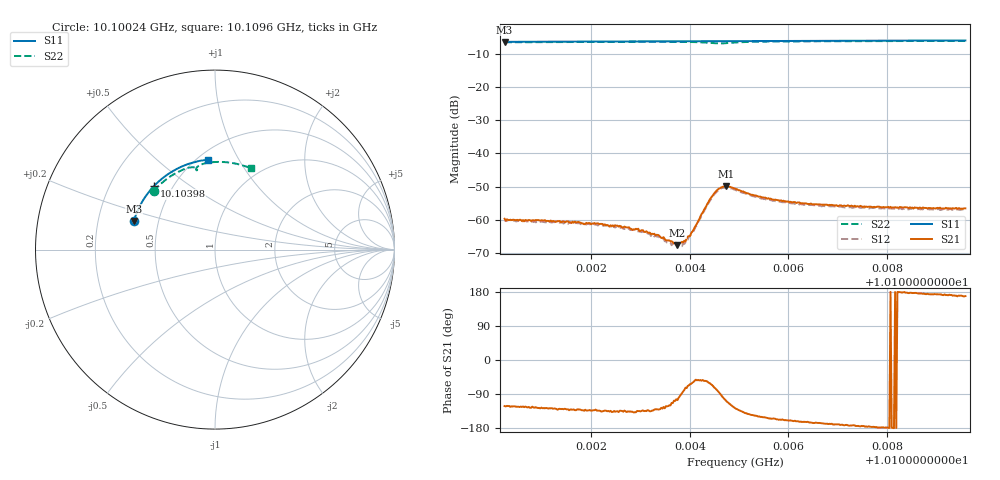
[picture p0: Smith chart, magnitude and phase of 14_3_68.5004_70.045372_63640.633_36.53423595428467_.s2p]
#  HZ  S  RI  R  50.00
! Rohde & Schwarz Vector Network Analyzer
! Rohde-Schwarz,ZNB20-2Port,1311601062101988,3.16
! Created: UTC 3/20/2024, 5:04:18 PM
! freq[Hz]  re:S11  im:S11  re:S21  im:S21  re:S12  im:S12  re:S22  im:S22
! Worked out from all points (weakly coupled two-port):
!   401 points, 10.10024 GHz to 10.1096 GHz, reference 50 ohm
!   highest |S21| = -49.96 dB at 10.10473 GHz (marker M1); lowest = -67.6 dB at 10.10375 GHz (marker M2)
!   lowest |S11| = -6.4 dB at 10.10024 GHz (marker M3), VSWR 2.84, Z = 18.1 + j7.47 ohm
!   |S11| at or under -10 dB: nowhere
!   |S22| runs from -6.9 to -6.1 dB; largest |S21 - S12| = 0.00033
!   S11 on the Smith chart (normalised r, x): 10.10024 GHz: 0.36, +0.15; 10.10398 GHz: 0.40, +0.37; 10.1096 GHz: 0.56, +0.75
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1.0100236e10  -0.4518 0.1593  -0.000542 -0.00088  -0.000426 -0.000882  -0.3402 0.3268
1.0101804e10  -0.4162 0.2479  -0.000597 -0.00065  -0.000532 -0.000684  -0.2658 0.3956
1.0102178e10  -0.405 0.2677  -0.000605 -0.00062  -0.000522 -0.000637  -0.2459 0.4096
1.0102716e10  -0.3873 0.2951  -0.000562 -0.00052  -0.000501 -0.000526  -0.2155 0.4279
1.0103091e10  -0.3743 0.3136  -0.000455 -0.000468  -0.000407 -0.000486  -0.1932 0.4391
1.0103371e10  -0.3635 0.327  -0.000378 -0.000441  -0.000328 -0.000444  -0.1756 0.4467
1.0103582e10  -0.3554 0.3368  -0.000241 -0.000424  -0.000183 -0.000421  -0.1616 0.4517
1.0103746e10  -0.3489 0.3443  -0.000114 -0.000402  -3.77e-05 -0.000434  -0.1504 0.4553
1.0103863e10  -0.344 0.3496  5.66e-05 -0.000453  8.26e-05 -0.000432  -0.1419 0.4571
1.010398e10  -0.3391 0.3547  0.000223 -0.00052  0.000255 -0.000491  -0.133 0.4584
1.0104097e10  -0.3343 0.3598  0.000445 -0.000623  0.000454 -0.00058  -0.1238 0.459
1.0104307e10  -0.3252 0.3688  0.000856 -0.00123  0.000938 -0.00109  -0.1072 0.4553
1.0104448e10  -0.3189 0.3745  0.000912 -0.00203  0.00106 -0.00186  -0.1 0.4482
1.0104588e10  -0.3127 0.3803  0.000256 -0.00293  0.000466 -0.00276  -0.1009 0.4421
1.0104729e10  -0.3064 0.3859  -0.000898 -0.00305  -0.000606 -0.00302  -0.105 0.4452
1.0104916e10  -0.2979 0.3933  -0.00177 -0.00235  -0.0015 -0.00239  -0.1016 0.4574
1.0105501e10  -0.2698 0.415  -0.00188 -0.00104  -0.00171 -0.00112  -0.0635 0.4785
1.0105922e10  -0.2487 0.429  -0.00177 -0.000688  -0.00165 -0.000822  -0.035 0.4846
1.0106483e10  -0.2194 0.4462  -0.00166 -0.000429  -0.00157 -0.000591  0.0024 0.4882
1.0107139e10  -0.1835 0.4636  -0.00162 -0.00022  -0.00148 -0.000393  0.0451 0.4881
1.0108051e10  -0.1318 0.4828  -0.00152 -1.99e-05  -0.00147 -0.000177  0.1037 0.4811
1.0109596e10  -0.0405 0.5013  -0.00145 0.000293  -0.00139 0.000132  0.1981 0.4539
